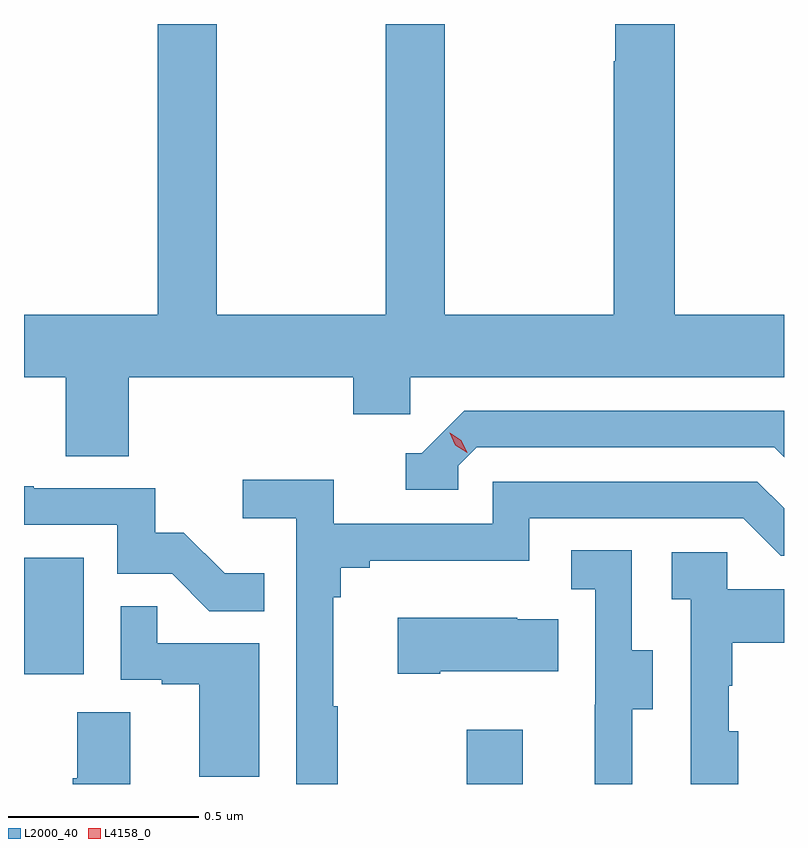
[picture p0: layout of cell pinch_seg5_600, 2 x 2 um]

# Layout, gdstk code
import gdstk
lib = gdstk.Library(unit=1e-6, precision=1e-09)
def R(c, l, rs):  # rectangles x0, y0, x1, y1
    for r in rs: c.add(gdstk.rectangle(r[:2], r[2:], *l))
def P(c, l, *ps):  # polygons
    for p in ps: c.add(gdstk.Polygon(p, *l))
L2000_40 = (2000, 40)
L4158_0 = (4158, 0)

pinch_seg5_600 = lib.new_cell('pinch_seg5_600')
R(pinch_seg5_600, L2000_40, [(1120.87,859.685,1121.017,859.828), (1119.705,859.974,1119.862,860.281)])
P(pinch_seg5_600, L2000_40, [(1120.657,860.92),(1120.212,860.92),(1120.212,861.685),(1120.057,861.685),(1120.057,860.92),(1119.705,860.92),(1119.705,860.756),(1119.815,860.756),(1119.815,860.548),(1119.98,860.548),(1119.98,860.756),(1120.571,860.756),(1120.571,860.658),(1120.722,860.658),(1120.722,860.756),(1121.705,860.756),(1121.705,860.92),(1121.417,860.92),(1121.417,861.685),(1121.261,861.685),(1121.261,861.587),(1121.257,861.587),(1121.257,860.92),(1120.812,860.92),(1120.812,861.685),(1120.657,861.685)],
  [(1120.848,860.523),(1120.896,860.571),(1121.679,860.571),(1121.705,860.545),(1121.705,860.667),(1120.863,860.667),(1120.752,860.556),(1120.709,860.556),(1120.709,860.46),(1120.848,860.46)],
  [(1120.531,859.889),(1120.519,859.889),(1120.519,860.177),(1120.538,860.177),(1120.538,860.254),(1120.615,860.254),(1120.615,860.273),(1121.034,860.273),(1121.034,860.385),(1121.598,860.385),(1121.697,860.286),(1121.705,860.286),(1121.705,860.411),(1121.635,860.481),(1120.938,860.481),(1120.938,860.37),(1120.52,860.37),(1120.52,860.486),(1120.281,860.486),(1120.281,860.384),(1120.422,860.384),(1120.422,859.685),(1120.531,859.685)],
  [(1120.337,860.239),(1120.233,860.239),(1120.126,860.346),(1120.05,860.346),(1120.05,860.463),(1119.731,860.463),(1119.731,860.468),(1119.705,860.468),(1119.705,860.367),(1119.951,860.367),(1119.951,860.238),(1120.095,860.238),(1120.193,860.14),(1120.337,860.14)],
  [(1121.305,859.882),(1121.359,859.882),(1121.359,860.037),(1121.304,860.037),(1121.304,860.3),(1121.145,860.3),(1121.145,860.197),(1121.208,860.197),(1121.208,859.893),(1121.207,859.893),(1121.207,859.685),(1121.305,859.685)],
  [(1121.584,859.824),(1121.559,859.824),(1121.559,859.943),(1121.569,859.943),(1121.569,860.057),(1121.705,860.057),(1121.705,860.197),(1121.556,860.197),(1121.556,860.295),(1121.409,860.295),(1121.409,860.171),(1121.46,860.171),(1121.46,859.685),(1121.584,859.685)],
  [(1120.324,860.055),(1120.055,860.055),(1120.055,860.153),(1119.96,860.153),(1119.96,859.959),(1120.067,859.959),(1120.067,859.947),(1120.166,859.947),(1120.166,859.704),(1120.324,859.704)],
  [(1120.801,859.982),(1121.111,859.982),(1121.111,860.119),(1121.003,860.119),(1121.003,860.122),(1120.689,860.122),(1120.689,859.975),(1120.801,859.975)],
  [(1119.985,859.874),(1119.845,859.874),(1119.845,859.7),(1119.833,859.7),(1119.833,859.685),(1119.985,859.685)])
P(pinch_seg5_600, L4158_0, [(1120.871,860.557),(1120.84,860.576),(1120.825,860.609),(1120.825,860.609),(1120.825,860.609),(1120.856,860.59),(1120.871,860.557),(1120.871,860.557)])

lib.write_gds('pinch_seg5_600.gds')
